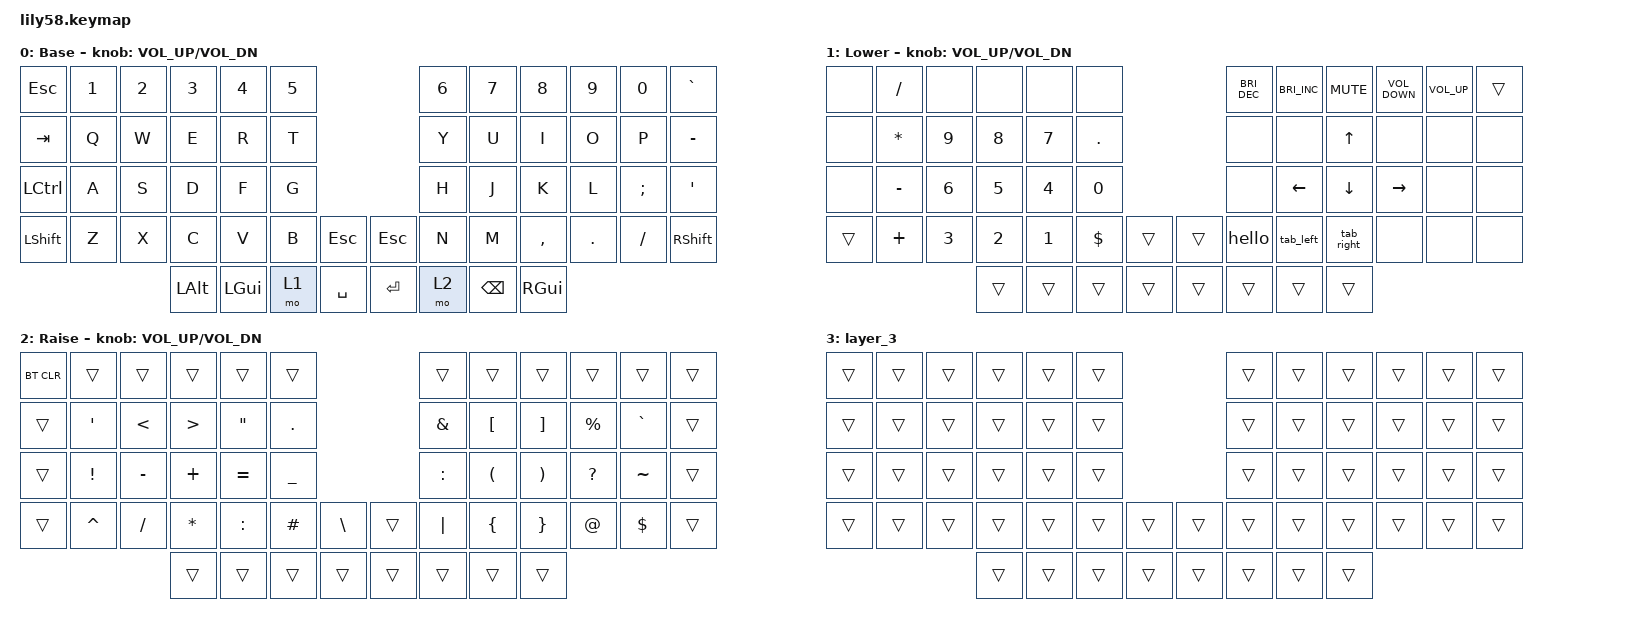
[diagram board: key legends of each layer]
/*
 * Copyright (c) 2020 The ZMK Contributors
 *
 * SPDX-License-Identifier: MIT
 */

#include <behaviors.dtsi>
#include <dt-bindings/zmk/bt.h>
#include <dt-bindings/zmk/keys.h>

/ {
    macros {
        hello: hello {
            compatible = "zmk,behavior-macro";
            #binding-cells = <0>;
            bindings = <&kp H &kp I>;
            label = "HELLO";
        };

        tab_left: tab_left {
            compatible = "zmk,behavior-macro";
            #binding-cells = <0>;
            bindings =
                <&macro_press>,
                <&kp LEFT_ALT &kp LEFT_COMMAND>,
                <&macro_tap>,
                <&kp LEFT_ARROW>,
                <&macro_release>,
                <&kp LEFT_ALT &kp LEFT_COMMAND>;

            label = "TAB_LEFT";
        };

        tab_right: tab_right {
            compatible = "zmk,behavior-macro";
            #binding-cells = <0>;
            bindings =
                <&macro_press>,
                <&kp LEFT_ALT &kp LEFT_COMMAND>,
                <&macro_tap>,
                <&kp RIGHT>,
                <&macro_release>,
                <&kp LEFT_ALT &kp LEFT_COMMAND>;

            label = "TAB_RIGHT";
        };
    };

    keymap {
        compatible = "zmk,keymap";

        default_layer {
            // ------------------------------------------------------------------------------------------------------------
            // |  ESC  |  1  |  2  |  3   |  4   |  5   |                   |  6   |  7    |  8    |  9   |   0   |   `   |
            // |  TAB  |  Q  |  W  |  E   |  R   |  T   |                   |  Y   |  U    |  I    |  O   |   P   |   -   |
            // |  CTRL |  A  |  S  |  D   |  F   |  G   |                   |  H   |  J    |  K    |  L   |   ;   |   '   |
            // | SHIFT |  Z  |  X  |  C   |  V   |  B   |   "["  |  |  "]"  |  N   |  M    |  ,    |  .   |   /   | SHIFT |
            //                     | ALT  | GUI  | LOWER|  SPACE |  | ENTER | RAISE| BSPC  | GUI   |

            display-name = "Base";
            bindings = <
&kp ESC    &kp N1  &kp N2  &kp N3    &kp N4    &kp N5                            &kp N6  &kp N7    &kp N8     &kp N9   &kp N0    &kp GRAVE
&kp TAB    &kp Q   &kp W   &kp E     &kp R     &kp T                             &kp Y   &kp U     &kp I      &kp O    &kp P     &kp MINUS
&kp LCTRL  &kp A   &kp S   &kp D     &kp F     &kp G                             &kp H   &kp J     &kp K      &kp L    &kp SEMI  &kp SQT
&kp LSHFT  &kp Z   &kp X   &kp C     &kp V     &kp B   &kp ESCAPE    &kp ESCAPE  &kp N   &kp M     &kp COMMA  &kp DOT  &kp FSLH  &kp RSHFT
                           &kp LALT  &kp LGUI  &mo 1   &kp SPACE     &kp RET     &mo 2   &kp BSPC  &kp RGUI
            >;

            sensor-bindings = <&inc_dec_kp C_VOL_UP C_VOL_DN>;
        };

        lower_layer {
            // ------------------------------------------------------------------------------------------------------------
            // | BTCLR | BT1 | BT2 |  BT3 |  BT4 |  BT5 |                   |      |       |       |      |       |       |
            // |  F1   |  F2 |  F3 |  F4  |  F5  |  F6  |                   |  F7  |  F8   |  F9   |  F10 |  F11  |  F12  |
            // |   `   |  !  |  @  |  #   |  $   |  %   |                   |  ^   |  &    |  *    |  (   |   )   |   ~   |
            // |       |     |     |      |      |      |        |  |       |      |  _    |  +    |  {   |   }   |  "|"  |
            //                     |      |      |      |        |  |       |      |       |       |

            display-name = "Lower";
            bindings = <
&none   &kp SLASH     &none         &none         &none         &none                           &kp C_BRIGHTNESS_DEC  &kp C_BRIGHTNESS_INC  &kp K_MUTE      &kp C_VOLUME_DOWN  &kp C_VOLUME_UP  &trans
&none   &kp ASTERISK  &kp NUMBER_9  &kp NUMBER_8  &kp NUMBER_7  &kp PERIOD                      &none                 &none                 &kp UP_ARROW    &none              &none            &none
&none   &kp MINUS     &kp NUMBER_6  &kp NUMBER_5  &kp NUMBER_4  &kp NUMBER_0                    &none                 &kp LEFT_ARROW        &kp DOWN_ARROW  &kp RIGHT_ARROW    &none            &none
&trans  &kp PLUS      &kp NUMBER_3  &kp NUMBER_2  &kp NUMBER_1  &kp DOLLAR    &trans    &trans  &hello                &tab_left             &tab_right      &none              &none            &none
                                    &trans        &trans        &trans        &trans    &trans  &trans                &trans                &trans
            >;

            sensor-bindings = <&inc_dec_kp C_VOL_UP C_VOL_DN>;
        };

        raise_layer {
            // ------------------------------------------------------------------------------------------------------------
            // |       |     |     |      |      |      |                   |      |       |       |      |       |       |
            // |   `   |  1  |  2  |  3   |  4   |  5   |                   |  6   |   7   |   8   |  9   |   0   |       |
            // |   F1  |  F2 |  F3 |  F4  |  F5  |  F6  |                   |      |   <-  |   v   |  ^   |  ->   |       |
            // |   F7  |  F8 |  F9 |  F10 |  F11 |  F12 |        |  |       |  +   |   -   |   =   |  [   |   ]   |   \   |
            //                     |      |      |      |        |  |       |      |       |       |

            display-name = "Raise";
            bindings = <
&bt BT_CLR  &trans           &trans         &trans            &trans             &trans                                   &trans         &trans                &trans                 &trans        &trans      &trans
&trans      &kp SQT          &kp LESS_THAN  &kp GREATER_THAN  &kp DOUBLE_QUOTES  &kp PERIOD                               &kp AMPERSAND  &kp LEFT_BRACKET      &kp RIGHT_BRACKET      &kp PERCENT   &kp GRAVE   &trans
&trans      &kp EXCLAMATION  &kp MINUS      &kp PLUS          &kp EQUAL          &kp UNDERSCORE                           &kp COLON      &kp LEFT_PARENTHESIS  &kp RIGHT_PARENTHESIS  &kp QUESTION  &kp TILDE   &trans
&trans      &kp CARET        &kp SLASH      &kp ASTERISK      &kp COLON          &kp HASH        &kp BACKSLASH    &trans  &kp PIPE       &kp LEFT_BRACE        &kp RIGHT_BRACE        &kp AT_SIGN   &kp DOLLAR  &trans
                                            &trans            &trans             &trans          &trans           &trans  &trans         &trans                &trans
            >;

            sensor-bindings = <&inc_dec_kp C_VOL_UP C_VOL_DN>;
        };

        layer_3 {
            bindings = <
&trans  &trans  &trans  &trans  &trans  &trans                    &trans  &trans  &trans  &trans  &trans  &trans
&trans  &trans  &trans  &trans  &trans  &trans                    &trans  &trans  &trans  &trans  &trans  &trans
&trans  &trans  &trans  &trans  &trans  &trans                    &trans  &trans  &trans  &trans  &trans  &trans
&trans  &trans  &trans  &trans  &trans  &trans  &trans    &trans  &trans  &trans  &trans  &trans  &trans  &trans
                        &trans  &trans  &trans  &trans    &trans  &trans  &trans  &trans
            >;
        };
    };
};
